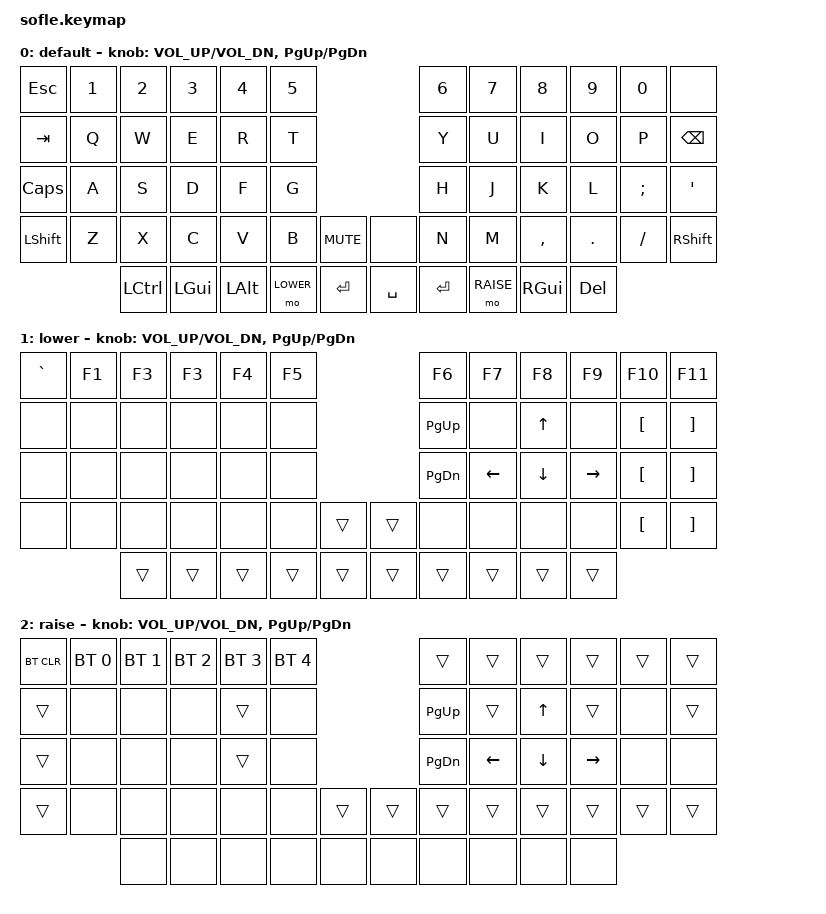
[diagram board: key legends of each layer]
/*
 * Copyright (c) 2020 The ZMK Contributors
 *
 * SPDX-License-Identifier: MIT
 */

#include <behaviors.dtsi>
#include <dt-bindings/zmk/keys.h>
#include <dt-bindings/zmk/bt.h>
#include <dt-bindings/zmk/rgb.h>
#include <dt-bindings/zmk/ext_power.h>

#define BASE 0
#define LOWER 1
#define RAISE 2
#define ADJUST 3


 /{ 
   // Activate ADJUST layer by pressing raise and lower
    conditional_layers {
        compatible = "zmk,conditional-layers";
        adjust_layer {
            if-layers = <LOWER RAISE>;
            then-layer = <ADJUST>;
        };
    };

    keymap {
        compatible = "zmk,keymap";

        default_layer {
            display-name = "default";
// ------------------------------------------------------------------------------------------------------------
// |  ESC    |  1  |  2  |  3   |  4   |  5   |                   |  6   |  7    |  8    |  9   |   0   |       |
// |  TAB  |  Q  |  W  |  E   |  R   |  T   |                   |  Y   |  U    |  I    |  O   |   P   | BKSPC |
// | CAPS  |  A  |  S  |  D   |  F   |  G   |                   |  H   |  J    |  K    |  L   |   ;   |   '   |
// | SHIFT |  Z  |  X  |  C   |  V   |  B   |  MUTE  |  |       |  N   |  M    |  ,    |  .   |   /   | SHIFT |
//               | CTRL | GUI | ALT  | LOWER|  ENTER |  | SPACE | ENTER| RAISE | GUI   | DEL  |
            bindings = <
&kp ESC   &kp N1 &kp N2   &kp N3   &kp N4    &kp N5                           &kp N6 &kp N7    &kp N8    &kp N9   &kp N0   &none
&kp TAB   &kp Q  &kp W    &kp E    &kp R     &kp T                            &kp Y  &kp U     &kp I     &kp O    &kp P    &kp BSPC
&kp CAPS  &kp A  &kp S    &kp D    &kp F     &kp G                            &kp H  &kp J     &kp K     &kp L    &kp SEMI &kp SQT
&kp LSHFT &kp Z  &kp X    &kp C    &kp V     &kp B      &kp C_MUTE &none      &kp N  &kp M     &kp COMMA &kp DOT  &kp FSLH &kp RSHFT
                 &kp LCTRL &kp LGUI &kp LALT &mo LOWER  &kp RET    &kp SPACE  &kp RET  &mo RAISE &kp RGUI  &kp DEL
            >;

            sensor-bindings = <&inc_dec_kp C_VOL_UP C_VOL_DN &inc_dec_kp PG_UP PG_DN>;
        };

        lower_layer {
            display-name = "lower";
// TODO: Some binds are waiting for shifted keycode support.
// ------------------------------------------------------------------------------------------------------------
// |   `   |  F1 |  F2 |  F3  |  F4  |  F5  |                   |  F6   |  F7   |  F8   |  F9  |  F10  |  F11  |
// |       |     |     |      |      |      |                   |       |       |       |      |       |  F12  |
// |       |     |     |      |      |      |                   | PG_UP |       |       |      |       |       |
// |       |     |     |      |      |      |        |  |       | PG_DN |       |       |      |   [   |   ]   |
//               |     |      |      |      |        |  |       |       |       |       |      |
            bindings = <
&kp GRAVE  &kp F1    &kp F3      &kp F3        &kp F4      &kp F5                      &kp F6      &kp F7     &kp F8      &kp F9      &kp F10       &kp F11
&none      &none     &none       &none         &none       &none                       &kp PG_UP   &none      &kp UP      &none       &kp LBKT      &kp RBKT
&none      &none     &none       &none         &none       &none                       &kp PG_DN   &kp LEFT   &kp DOWN    &kp RIGHT   &kp LBKT      &kp RBKT
&none      &none     &none       &none         &none       &none        &trans &trans  &none       &none      &none       &none       &kp LBKT      &kp RBKT 
                     &trans      &trans        &trans      &trans       &trans &trans  &trans      &trans     &trans      &trans
            >;

            sensor-bindings = <&inc_dec_kp C_VOL_UP C_VOL_DN &inc_dec_kp PG_UP PG_DN>;
        };

        raise_layer {
            display-name = "raise";
// ------------------------------------------------------------------------------------------------------------
// | BTCLR | BT1  | BT2  |  BT3  |  BT4  |  BT5 |                |      |      |       |      |       |       |
// |       |      |      |       |       |      |                | PGUP |      |   ^   |      |       |       |
// |       |      |      |       |       |      |                | PGDN |   <- |   v   |  ->  |       |       |
// |       |      |      |       |       |      |      |  |      |      |      |       |      |       |       |
//                |      |       |       |      |      |  |      |      |      |       |      |
            bindings = <
&bt BT_CLR &bt BT_SEL 0   &bt BT_SEL 1   &bt BT_SEL 2 &bt BT_SEL 3 &bt BT_SEL 4                  &trans     &trans    &trans    &trans    &trans   &trans
&trans     &none          &none          &none      &trans      &none                            &kp PG_UP  &trans    &kp UP    &trans    &none    &trans
&trans     &none          &none          &none      &trans      &none                            &kp PG_DN  &kp LEFT  &kp DOWN  &kp RIGHT &none    &none 
&trans     &none          &none          &none      &none       &none        &trans &trans       &trans     &trans    &trans    &trans    &trans   &trans  
                          &none          &none      &none       &none        &none  &none        &none      &none     &none     &none
            >;

            sensor-bindings = <&inc_dec_kp C_VOL_UP C_VOL_DN &inc_dec_kp PG_UP PG_DN>;
        };

   };
};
